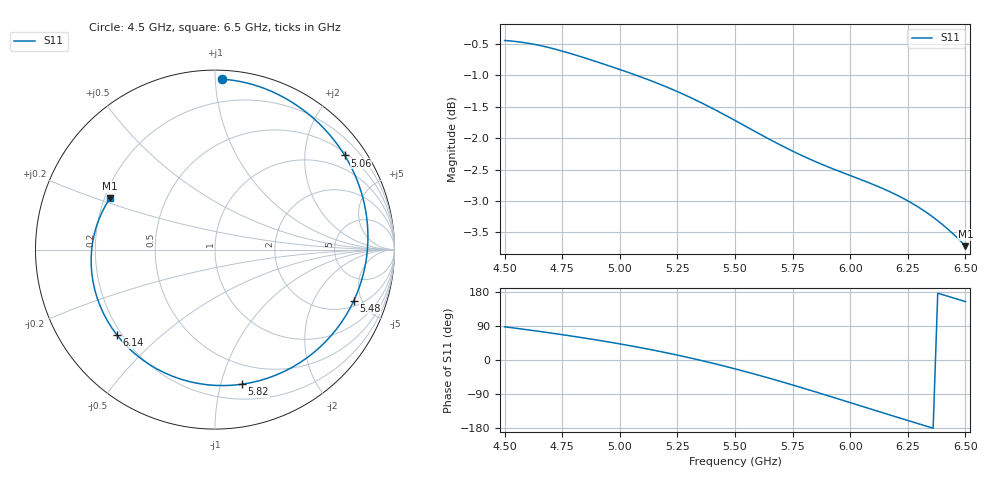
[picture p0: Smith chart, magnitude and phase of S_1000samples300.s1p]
! TOUCHSTONE file generated by CST MICROWAVE STUDIO
! Date and time: Thu Oct 27 16:47:56 2022
! Project name: L.cst
! Parameters = {Di=1.27; Epsilon_r=1.56; InnerDiameter=1.27; Length=2; Lf=10; Lg=60; OuterConductorThickness=0.2921; OuterDiameter=3.6; Wf=3; Wp=41.2; de=1.5; df=6.8; g=0.8; gx=3.87184; gy=2.46845; h=2.34; hf=1.524; px=10.6092; py=12.1008; w=9.7; wx=6.73736; wy=9.63239}
! Header version: 2018
! Port assignment regex: !\s*Touchstone port\s*([0-9]+)\s*=\s*(CST MWS port|CST DS port)\s*([0-9]+|Zmin|Zmax)\s*\(\"(.*)\"\)(\s*mode\s*([0-9]+))?.*
! Touchstone port assignment:
! Touchstone port 1 = CST MWS port 1 ("")
# GHz S DB R 50
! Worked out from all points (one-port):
!   101 points, 4.5 GHz to 6.5 GHz, reference 50 ohm
!   lowest |S11| = -3.7 dB at 6.5 GHz (marker M1), VSWR 4.74, Z = 11.1 + j11 ohm
!   |S11| at or under -10 dB: nowhere
!   S11 on the Smith chart (normalised r, x): 4.5 GHz: 0.05, +1.04; 5.06 GHz: 0.58, +2.98; 5.48 GHz: 2.42, -4.30; 5.82 GHz: 0.32, -1.17; 6.14 GHz: 0.18, -0.36; 6.5 GHz: 0.22, +0.22
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4.5  -0.44 87.6
4.64  -0.51 76.4
4.76  -0.62 65.9
4.88  -0.76 54.7
5  -0.91 42.5
5.06  -0.98 36.0
5.16  -1.12 24.3
5.26  -1.27 11.6
5.32  -1.38 3.4
5.38  -1.48 -5.1
5.48  -1.68 -20.2
5.5  -1.72 -23.4
5.56  -1.84 -33.0
5.62  -1.96 -43.1
5.7  -2.11 -57.0
5.76  -2.22 -67.7
5.82  -2.33 -78.7
5.9  -2.45 -93.6
5.94  -2.51 -101.1
6  -2.60 -112.5
6.06  -2.68 -123.8
6.14  -2.80 -139.0
6.2  -2.90 -150.2
6.26  -3.02 -161.5
6.32  -3.16 -172.6
6.38  -3.32 176.3
6.44  -3.50 165.2
6.5  -3.72 154.1
